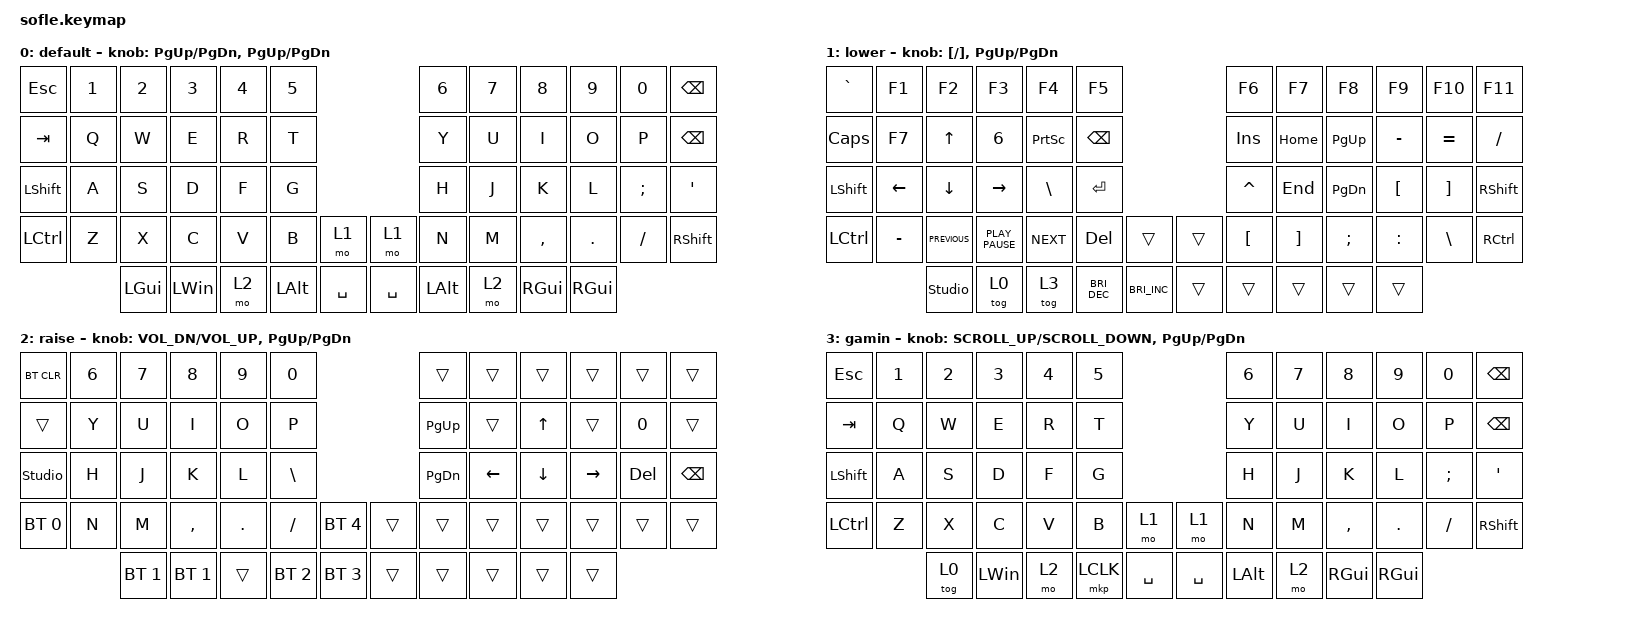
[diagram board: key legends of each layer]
/*
 * Copyright (c) 2020 The ZMK Contributors
 *
 * SPDX-License-Identifier: MIT
 */

#include <behaviors.dtsi>
#include <dt-bindings/zmk/bt.h>
#include <dt-bindings/zmk/keys.h>
#include <dt-bindings/zmk/pointing.h>

#define BASE 0
#define LOWER 1
#define RAISE 2
#define ADJUST 3

/ {
    // Activate ADJUST layer by pressing raise and lower

    conditional_layers {
        compatible = "zmk,conditional-layers";

        adjust_layer {
            if-layers = <1 2>;
            then-layer = <3>;
        };
    };

    keymap {
        compatible = "zmk,keymap";

        default_layer {
            label = "default";

            // ------------------------------------------------------------------------------------------------------------
            // |   `   |  1  |  2  |  3   |  4   |  5   |                   |  6   |  7    |  8    |  9   |   0   |       |
            // |  ESC  |  Q  |  W  |  E   |  R   |  T   |                   |  Y   |  U    |  I    |  O   |   P   | BKSPC |
            // |  TAB  |  A  |  S  |  D   |  F   |  G   |                   |  H   |  J    |  K    |  L   |   ;   |   '   |
            // | SHIFT |  Z  |  X  |  C   |  V   |  B   |  MUTE  |  |       |  N   |  M    |  ,    |  .   |   /   | SHIFT |
            //               | GUI | ALT  | CTRL | LOWER|  ENTER |  | SPACE | RAISE| CTRL  | ALT   | GUI  |

            bindings = <
&kp ESCAPE        &kp N1  &kp N2    &kp N3        &kp N4  &kp N5                                &kp N6        &kp N7  &kp N8         &kp N9    &kp N0    &kp BACKSPACE
&kp TAB           &kp Q   &kp W     &kp E         &kp R   &kp T                                 &kp Y         &kp U   &kp I          &kp O     &kp P     &kp BSPC
&kp LEFT_SHIFT    &kp A   &kp S     &kp D         &kp F   &kp G                                 &kp H         &kp J   &kp K          &kp L     &kp SEMI  &kp SQT
&kp LEFT_CONTROL  &kp Z   &kp X     &kp C         &kp V   &kp B         &mo 1        &mo 1      &kp N         &kp M   &kp COMMA      &kp DOT   &kp FSLH  &kp RSHFT
                          &kp LGUI  &kp LEFT_WIN  &mo 2   &kp LEFT_ALT  &kp SPACE    &kp SPACE  &kp LEFT_ALT  &mo 2   &kp RIGHT_GUI  &kp RGUI
            >;

            sensor-bindings =
                <&inc_dec_kp PAGE_UP PAGE_DOWN>,
                <&inc_dec_kp PG_UP PG_DN>;
        };

        lower_layer {
            label = "lower";

            // TODO: Some binds are waiting for shifted keycode support.
            // ------------------------------------------------------------------------------------------------------------
            // |       |  F1 |  F2 |  F3  |  F4  |  F5  |                   |  F6  |  F7   |  F8   |  F9  |  F10  |  F11  |
            // |   `   |  1  |  2  |  3   |  4   |  5   |                   |  6   |  7    |  8    |  9   |   0   |  F12  |
            // |       |  !  |  @  |  #   |  $   |  %   |                   |  ^   |  &    |  *    |  (   |   )   |   |   |
            // |       |  =  |  -  |  +   |  {   |  }   |        |  |       |  [   |  ]    |  ;    |  :   |   \   |       |
            //               |     |      |      |      |        |  |       |      |       |       |      |

            bindings = <
&kp GRAVE         &kp F1          &kp F2          &kp F3            &kp F4           &kp F5                                                &kp F6     &kp F7    &kp F8         &kp F9            &kp F10            &kp F11
&kp CAPS          &kp F7          &kp UP_ARROW    &kp NUMBER_6      &kp PRINTSCREEN  &kp BACKSPACE                                         &kp INS    &kp HOME  &kp PAGE_UP    &kp MINUS         &kp EQUAL          &kp SLASH
&kp LEFT_SHIFT    &kp LEFT_ARROW  &kp DOWN_ARROW  &kp RIGHT         &kp BACKSLASH    &kp ENTER                                             &kp CARET  &kp END   &kp PAGE_DOWN  &kp LEFT_BRACKET  &kp RIGHT_BRACKET  &kp RIGHT_SHIFT
&kp LEFT_CONTROL  &kp MINUS       &kp K_PREVIOUS  &kp K_PLAY_PAUSE  &kp K_NEXT       &kp DEL               &trans                  &trans  &kp LBKT   &kp RBKT  &kp SEMI       &kp COLON         &kp BSLH           &kp RIGHT_CONTROL
                                  &studio_unlock  &tog 0            &tog 3           &kp C_BRIGHTNESS_DEC  &kp C_BRIGHTNESS_INC    &trans  &trans     &trans    &trans         &trans
            >;

            sensor-bindings =
                <&inc_dec_kp LEFT_BRACKET RIGHT_BRACKET>,
                <&inc_dec_kp PG_UP PG_DN>;
        };

        raise_layer {
            label = "raise";

            // ------------------------------------------------------------------------------------------------------------
            // | BTCLR | BT1  | BT2  |  BT3  |  BT4  |  BT5 |                |      |      |       |      |       |       |
            // |       | INS  | PSCR | GUI   |       |      |                | PGUP |      |   ^   |      |       |       |
            // |       | ALT  | CTRL | SHIFT |       | CAPS |                | PGDN |   <- |   v   |  ->  |  DEL  | BKSPC |
            // |       | UNDO | CUT  | COPY  | PASTE |      |      |  |      |      |      |       |      |       |       |
            //                |      |       |       |      |      |  |      |      |      |       |      |

            bindings = <
&bt BT_CLR      &kp N6  &kp N7        &kp N8        &kp N9      &kp N0                                 &trans     &trans    &trans    &trans     &trans   &trans
&trans          &kp Y   &kp U         &kp I         &kp O       &kp P                                  &kp PG_UP  &trans    &kp UP    &trans     &kp N0   &trans
&studio_unlock  &kp H   &kp J         &kp K         &kp L       &kp BACKSLASH                          &kp PG_DN  &kp LEFT  &kp DOWN  &kp RIGHT  &kp DEL  &kp BSPC
&bt BT_SEL 0    &kp N   &kp M         &kp COMMA     &kp PERIOD  &kp SLASH      &bt BT_SEL 4    &trans  &trans     &trans    &trans    &trans     &trans   &trans
                        &bt BT_SEL 1  &bt BT_SEL 1  &trans      &bt BT_SEL 2   &bt BT_SEL 3    &trans  &trans     &trans    &trans    &trans
            >;

            sensor-bindings =
                <&inc_dec_kp C_VOL_DN C_VOLUME_UP>,
                <&inc_dec_kp PG_UP PG_DN>;
        };

        gaming {
            label = "gamin";
            bindings = <
&kp ESCAPE        &kp N1  &kp N2  &kp N3        &kp N4  &kp N5                             &kp N6        &kp N7  &kp N8         &kp N9    &kp N0    &kp BACKSPACE
&kp TAB           &kp Q   &kp W   &kp E         &kp R   &kp T                              &kp Y         &kp U   &kp I          &kp O     &kp P     &kp BSPC
&kp LEFT_SHIFT    &kp A   &kp S   &kp D         &kp F   &kp G                              &kp H         &kp J   &kp K          &kp L     &kp SEMI  &kp SQT
&kp LEFT_CONTROL  &kp Z   &kp X   &kp C         &kp V   &kp B      &mo 1        &mo 1      &kp N         &kp M   &kp COMMA      &kp DOT   &kp FSLH  &kp RSHFT
                          &tog 0  &kp LEFT_WIN  &mo 2   &mkp LCLK  &kp SPACE    &kp SPACE  &kp LEFT_ALT  &mo 2   &kp RIGHT_GUI  &kp RGUI
            >;

            sensor-bindings =
                <&inc_dec_kp K_SCROLL_UP K_SCROLL_DOWN>,
                <&inc_dec_kp PG_UP PG_DN>;
        };
    };
};
